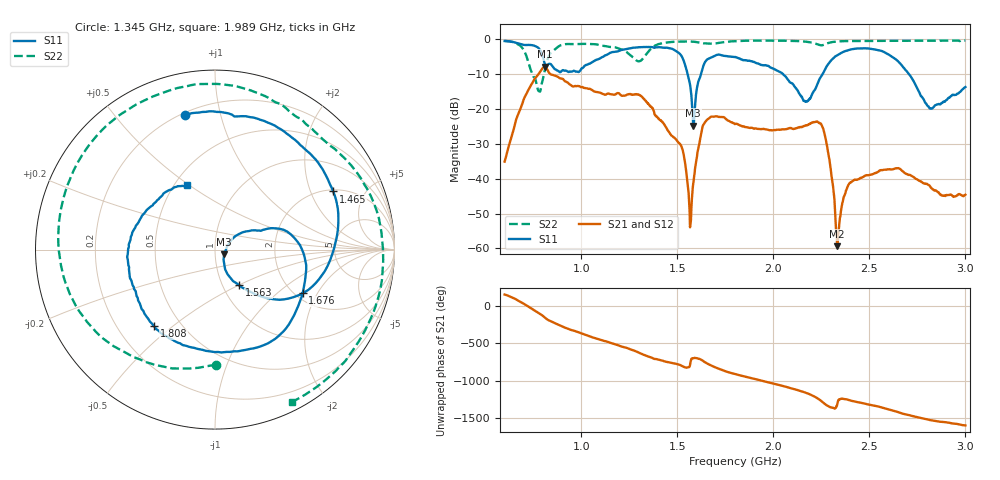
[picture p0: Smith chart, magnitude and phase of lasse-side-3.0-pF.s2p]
#  HZ  S  RI  R  50.00
! Rohde & Schwarz ZVB8 2Ports - Version 2.81 - 1145.1010k08 SN: 100113
! Date: 2016-03-31 05:23:11
! Measurements: S11 S21 S12 S22
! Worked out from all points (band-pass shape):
!   1000 points, 600 MHz to 3 GHz, reference 50 ohm
!   highest |S21| = -7.87 dB at 809 MHz (marker M1); lowest = -59.3 dB at 2.332 GHz (marker M2)
!   |S21| within 3 dB of the highest: 764.7 MHz to 878.9 MHz (114.1 MHz wide, 13.9 % of centre)
!   lowest |S11| = -24.8 dB at 1.583 GHz (marker M3), VSWR 1.12, Z = 55.3 - j3 ohm
!   |S11| at or under -10 dB: 1.553 GHz to 1.623 GHz (69.84 MHz wide, 4.4 % of centre); 2.049 GHz to 2.257 GHz (207.2 MHz wide, 9.62 % of centre); 2.706 GHz to end of sweep
!   |S22| runs from -15.1 to -0.4 dB; largest |S21 - S12| = 0.0041
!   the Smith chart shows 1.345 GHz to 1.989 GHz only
!   S11 on the Smith chart (normalised r, x): 1.345 GHz: 0.21, +0.78; 1.465 GHz: 2.08, +2.92; 1.563 GHz: 1.19, -0.51; 1.676 GHz: 2.18, -1.52; 1.808 GHz: 0.36, -0.43; 1.989 GHz: 0.58, +0.49
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6e8  0.0177 0.9382  -0.0151 0.00886  -0.0151 0.00879  -0.0245 0.9441
6.888889e8  0.6127 0.5759  0.082 0.0759  0.0813 0.0764  0.6476 0.4106
8.09009e8  0.3696 -0.2317  -0.3703 -0.1619  -0.3703 -0.1625  0.1056 0.3347
1.001201e9  0.2185 -0.3112  0.2011 -0.0374  0.2008 -0.0369  0.5299 -0.668
1.174174e9  -0.5649 -0.3399  -0.1414 -0.0754  -0.1411 -0.076  -0.7216 -0.2549
1.263063e9  -0.6747 0.3208  -0.1048 0.1198  -0.1046 0.1199  -0.1196 0.5543
1.344745e9  -0.1665 0.7518  0.0835 0.0858  0.083 0.0862  0.00658 -0.6411
1.4e9  0.2733 0.717  0.0729 0.00224  0.0729 0.00252  -0.808 -0.249
1.464865e9  0.6583 0.3243  0.033 -0.0276  0.033 -0.0275  -0.7534 0.5043
1.563363e9  0.1347 -0.1994  -0.000179 -0.00347  -0.000166 -0.00344  -0.0435 0.923
1.582583e9  0.051 -0.0271  0.00806 0.00271  0.00807 0.00273  0.0975 0.9137
1.676276e9  0.488 -0.2437  0.0154 -0.0758  0.0156 -0.0757  0.5743 0.6406
1.801201e9  -0.3006 -0.4664  -0.0597 0.0125  -0.0596 0.0125  0.9287 0.0824
1.808408e9  -0.34 -0.4263  -0.0587 0.018  -0.0586 0.018  0.9333 0.0387
1.988589e9  -0.1532 0.3574  0.033 0.0367  0.0329 0.0367  0.4294 -0.8479
2.2e9  -0.0033 0.1578  -0.026 -0.0575  -0.0258 -0.0574  -0.7343 -0.5067
2.267267e9  0.033 0.36  -0.027 0.0332  -0.0271 0.0332  -0.8073 -0.2329
2.332132e9  0.4141 0.4155  -0.000574 0.000912  -0.000515 0.000831  -0.911 0.1591
2.447447e9  0.6766 -0.2879  -0.00849 0.00524  -0.00854 0.0052  -0.5432 0.7642
2.601201e9  -0.3375 -0.4944  0.00775 0.0112  0.00761 0.0113  0.2932 0.8959
2.716517e9  -0.1876 0.2188  0.00984 -0.00509  0.00983 -0.0051  0.7719 0.5462
3e9  -0.1241 0.1638  -0.00549 -0.00214  -0.0055 -0.00225  0.6682 -0.6827
